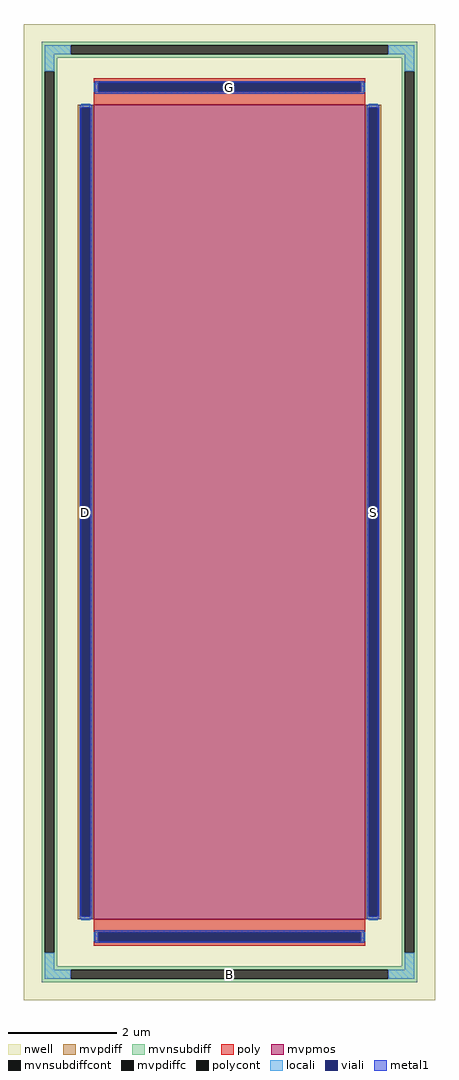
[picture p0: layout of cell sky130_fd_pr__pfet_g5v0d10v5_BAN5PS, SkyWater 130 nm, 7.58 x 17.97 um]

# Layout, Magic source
magic
tech sky130A
magscale 1 2
<< nwell >>
rect -758 -1797 758 1797
<< mvpmos >>
rect -500 -1500 500 1500
<< mvpdiff >>
rect -558 1488 -500 1500
rect -558 -1488 -546 1488
rect -512 -1488 -500 1488
rect -558 -1500 -500 -1488
rect 500 1488 558 1500
rect 500 -1488 512 1488
rect 546 -1488 558 1488
rect 500 -1500 558 -1488
<< mvpdiffc >>
rect -546 -1488 -512 1488
rect 512 -1488 546 1488
<< mvnsubdiff >>
rect -692 1719 692 1731
rect -692 1685 -584 1719
rect 584 1685 692 1719
rect -692 1673 692 1685
rect -692 1623 -634 1673
rect -692 -1623 -680 1623
rect -646 -1623 -634 1623
rect 634 1623 692 1673
rect -692 -1673 -634 -1623
rect 634 -1623 646 1623
rect 680 -1623 692 1623
rect 634 -1673 692 -1623
rect -692 -1685 692 -1673
rect -692 -1719 -584 -1685
rect 584 -1719 692 -1685
rect -692 -1731 692 -1719
<< mvnsubdiffcont >>
rect -584 1685 584 1719
rect -680 -1623 -646 1623
rect 646 -1623 680 1623
rect -584 -1719 584 -1685
<< poly >>
rect -500 1581 500 1597
rect -500 1547 -484 1581
rect 484 1547 500 1581
rect -500 1500 500 1547
rect -500 -1547 500 -1500
rect -500 -1581 -484 -1547
rect 484 -1581 500 -1547
rect -500 -1597 500 -1581
<< polycont >>
rect -484 1547 484 1581
rect -484 -1581 484 -1547
<< locali >>
rect -680 1685 -584 1719
rect 584 1685 680 1719
rect -680 1623 -646 1685
rect 646 1623 680 1685
rect -500 1547 -484 1581
rect 484 1547 500 1581
rect -546 1488 -512 1504
rect -546 -1504 -512 -1488
rect 512 1488 546 1504
rect 512 -1504 546 -1488
rect -500 -1581 -484 -1547
rect 484 -1581 500 -1547
rect -680 -1685 -646 -1623
rect 646 -1685 680 -1623
rect -680 -1719 -584 -1685
rect 584 -1719 680 -1685
<< viali >>
rect -484 1547 484 1581
rect -546 -1488 -512 1488
rect 512 -1488 546 1488
rect -484 -1581 484 -1547
<< metal1 >>
rect -496 1581 496 1587
rect -496 1547 -484 1581
rect 484 1547 496 1581
rect -496 1541 496 1547
rect -552 1488 -506 1500
rect -552 -1488 -546 1488
rect -512 -1488 -506 1488
rect -552 -1500 -506 -1488
rect 506 1488 552 1500
rect 506 -1488 512 1488
rect 546 -1488 552 1488
rect 506 -1500 552 -1488
rect -496 -1547 496 -1541
rect -496 -1581 -484 -1547
rect 484 -1581 496 -1547
rect -496 -1587 496 -1581
<< labels >>
rlabel mvnsubdiffcont 0 -1702 0 -1702 0 B
port 5 nsew
rlabel mvpdiffc -529 0 -529 0 0 D
port 6 nsew
rlabel mvpdiffc 529 0 529 0 0 S
port 7 nsew
rlabel polycont 0 1564 0 1564 0 G
port 8 nsew
<< properties >>
string FIXED_BBOX -663 -1702 663 1702
string gencell sky130_fd_pr__pfet_g5v0d10v5
string library sky130
string parameters w 15 l 5 m 1 nf 1 diffcov 100 polycov 100 guard 1 glc 1 grc 1 gtc 1 gbc 1 tbcov 100 rlcov 100 topc 1 botc 1 poverlap 0 doverlap 1 lmin 0.50 wmin 0.42 class mosfet compatible {sky130_fd_pr__pfet_01v8  sky130_fd_pr__pfet_01v8_lvt sky130_fd_pr__pfet_01v8_hvt  sky130_fd_pr__pfet_g5v0d10v5} full_metal 1 conn_gates 0 viasrc 100 viadrn 100 viagate 100 viagb 0 viagr 0 viagl 0 viagt 0 doports 1
<< end >>
